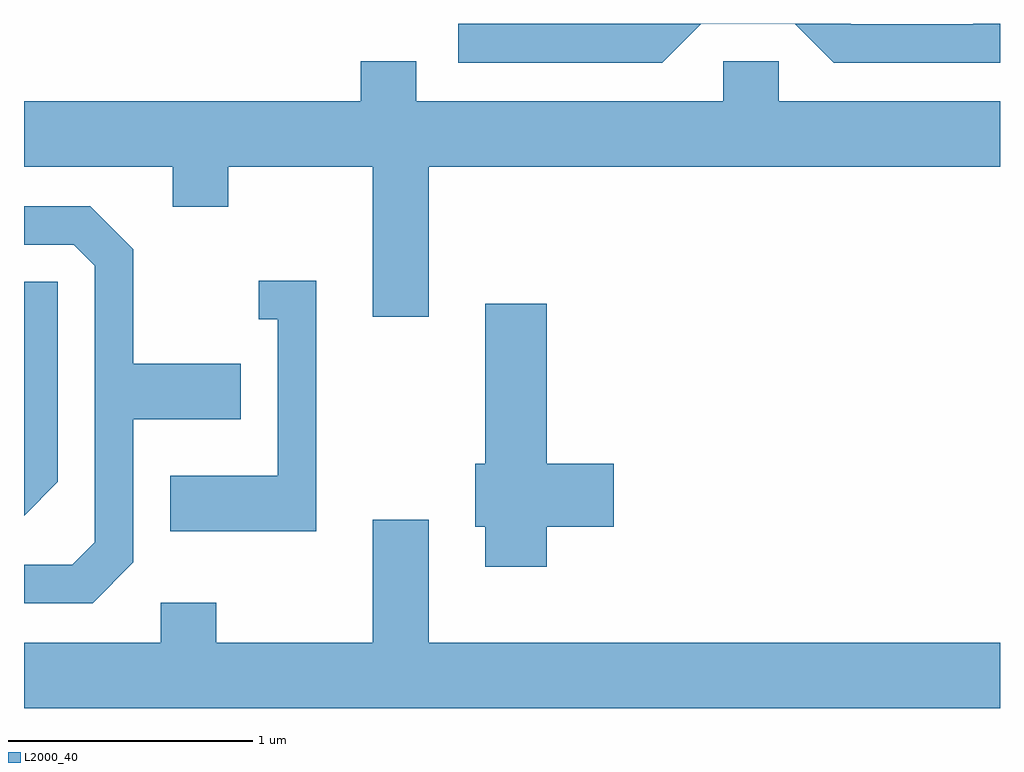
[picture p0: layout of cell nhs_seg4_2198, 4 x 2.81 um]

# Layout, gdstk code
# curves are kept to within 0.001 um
import gdstk
lib = gdstk.Library(unit=1e-6, precision=1e-09)
def P(c, l, *ps):  # polygons
    for p in ps: c.add(gdstk.Polygon(p, *l))
L2000_40 = (2000, 40)

nhs_seg4_2198 = lib.new_cell('nhs_seg4_2198')
P(nhs_seg4_2198, L2000_40, [(252.387,1301.981),(252.769,1301.981),(252.929,1301.821),(253.611,1301.821),(253.611,1301.982),(253.501,1301.982),(253.501,1301.979),(253.002,1301.979),(252.999,1301.982),(250.463,1301.982),(251.391,1301.981),(251.391,1301.821),(252.227,1301.821)],
  [(251.269,1301.396),(253.611,1301.396),(253.611,1301.664),(252.704,1301.664),(252.704,1301.829),(252.476,1301.829),(252.476,1301.664),(251.219,1301.664),(251.219,1301.829),(250.991,1301.829),(250.991,1301.664),(249.611,1301.664),(249.611,1301.396),(250.221,1301.396),(250.221,1301.231),(250.449,1301.231),(250.449,1301.396),(251.041,1301.396),(251.041,1300.781),(251.269,1300.781)],
  [(250.059,1299.774),(250.059,1300.361),(250.499,1300.361),(250.499,1300.589),(250.059,1300.589),(250.059,1301.057),(249.882,1301.234),(249.611,1301.234),(249.611,1301.076),(249.814,1301.076),(249.901,1300.989),(249.901,1299.857),(249.809,1299.764),(249.611,1299.764),(249.611,1299.606),(249.892,1299.606)],
  [(250.809,1300.929),(250.573,1300.929),(250.573,1300.771),(250.651,1300.771),(250.651,1300.129),(250.211,1300.129),(250.211,1299.901),(250.809,1299.901)],
  [(249.749,1300.104),(249.749,1300.924),(249.611,1300.924),(249.611,1299.965)],
  [(251.754,1299.921),(252.029,1299.921),(252.029,1300.179),(251.754,1300.179),(251.754,1300.834),(251.501,1300.834),(251.501,1300.179),(251.461,1300.179),(251.461,1299.921),(251.501,1299.921),(251.501,1299.756),(251.754,1299.756)],
  [(253.611,1299.444),(251.269,1299.444),(251.269,1299.949),(251.041,1299.949),(251.041,1299.444),(250.399,1299.444),(250.399,1299.609),(250.171,1299.609),(250.171,1299.444),(249.611,1299.444),(249.611,1299.176),(253.611,1299.176)])

lib.write_gds('nhs_seg4_2198.gds')
